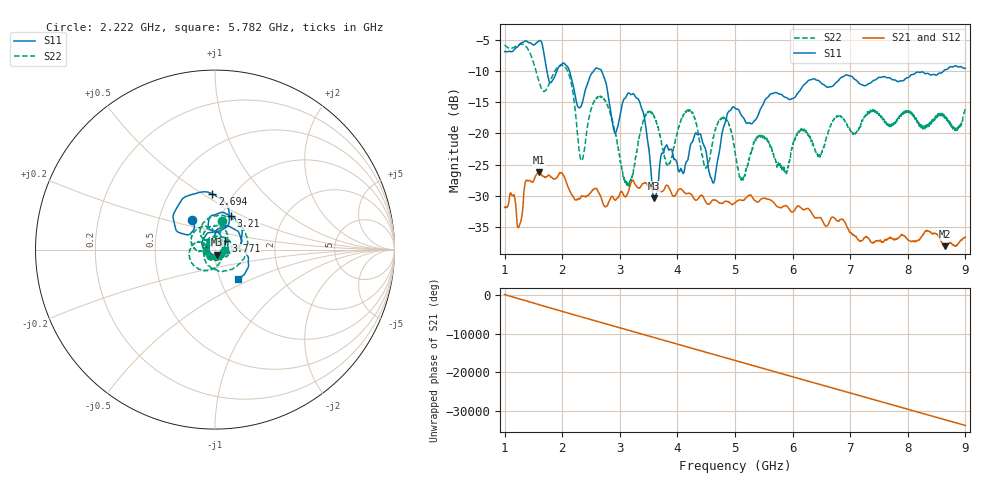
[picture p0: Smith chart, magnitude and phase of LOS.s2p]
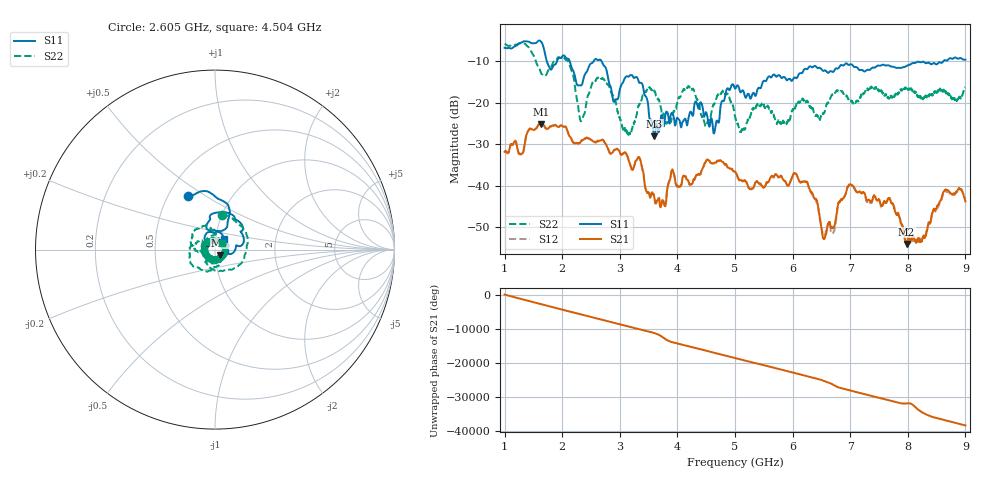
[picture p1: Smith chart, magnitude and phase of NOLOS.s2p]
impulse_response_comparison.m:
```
%Author: Yevgeniy Simonov
%Year: 2020

clear all 
close all
experiment = ["dataM/LOS.s2p", ... %EXP(1) Line-of-sight, 3m
              "dataM/NOLOS.s2p", ... %EXP(2) No Line-of-sight, 3m
              "dataM/1R.s2p", ... %EXP(3) 1 Side Reflector, 3m
              "dataM/2R.s2p", ... %EXP(4) 2 Side Reflectors, 3m
              "dataM/3R.s2p", ... %EXP(5) 3 Side Reflectros, 3m
              "dataM/3R_NOLOS.s2p", ... %EXP(6) 3 Side Reflectors No Line-of-sight, 3m
              "dataM/3R_2D.s2p", ... %EXP(7) 3 Side Reflectors, 2 Diffraction Plates, 3m
              "dataM/3R_4D.s2p", ... %EXP(8) 3 Side Reflectors, 4 Diffraction Plates, 3m
              "dataM/4R_4D.s2p"]'; %EXP(9) 4 Side Reflectors, 4 Diffraction Plates, 3m
          
freqs = sparameters("dataM/LOS.s2p").Frequencies;
Nf = size(freqs,1);
Nex = size(experiment,1);

S = {};
for i=1:Nex
    S{end+1} = sparameters(experiment(i)).Parameters;
end

beta = 3.3;
Window = kaiser(Nf,beta);
%Winfreq = freqz(Window,1,Nf,2);
W0 = sum(Window);

TF = zeros(Nf,Nex);
for i=1:Nex
   TF(:,i)= squeeze(S{i}(2,1,:)./(1+S{i}(1,1,:))).*Window; 
end

Nt = Nf;
tstart = 5e-9; %start time
tstop = 50e-9; %end time
time = linspace(tstart, tstop, Nt)';
omega = 2*pi*freqs;

CIR = zeros(Nt,Nex);
for k=1:Nex
    for i=1:Nt
        CIR(i,k) = sum(squeeze(TF(:,k)).*exp(1i*omega*time(i)));
    end
    CIR(:,k) = CIR(:,k) / W0;
end

%% Plot Channel Transfer Function
numexp = (1:9).';
[X,Y] = meshgrid(numexp,freqs);

markers = {'.' '.' '.' '.' '.' '.' '.' '.' '.'};
%markers = {'.' '^' 'diamond' 'p' 'v' 'd' 'x' 'o' '+'};

figure('DefaultAxesFontSize', 14)
gsh = plot3(X,Y/1e9,20*log10(abs(TF))); 
set(gsh,{'Marker'}, markers(:),'MarkerSize',1)
zlabel('20log_{10}|H(f)W(f)|,dB')
ylabel('Frequency, GHz')
xlabel('Experiment Number')
title("Amplitude of Windowed Transfer Function, Kaiser \beta=3.3")
view(140,75)
legend("L.O.S.", ...
       "No L.O.S.", ...
       "1 side reflector", ...
       "2 side reflectors", ...
       "3 side reflectors", ...
       "3 side reflectors, no L.O.S.", ...
       "3 side reflectors, 2 diffractors", ...
       "3 side reflectors, 4 diffractors", ...
       "4 side reflectors, 4 diffractors" );
xlim([1 9])
grid on

%% Plot Channel Impulse Response
[X,Y] = meshgrid(numexp,time);
figure('DefaultAxesFontSize', 14)
gsh = plot3(X,Y*1e9,20*log10(abs(CIR)))
set(gsh,{'Marker'}, markers(:),'MarkerSize',1)
zlabel('20log_{10}|h(t)|,dB')
ylabel('Time, ns')
xlabel('Experiment Number')
title("Amplitudes of Channel Impulse Response, Kaiser \beta=3.3")
view(140,75)
legend("L.O.S.", ...
       "No L.O.S.", ...
       "1 side reflector", ...
       "2 side reflectors", ...
       "3 side reflectors", ...
       "3 side reflectors, no L.O.S.", ...
       "3 side reflectors, 2 diffractors", ...
       "3 side reflectors, 4 diffractors", ...
       "4 side reflectors, 4 diffractors");
zlim([-80 -20])
ylim([5 35])
xlim([1 9])
grid on

%% Identification of multipath waves
CIR_diff = zeros(Nt,Nex-1);
for i=2:Nex
   CIR_diff(:,i-1) = squeeze(sign(abs(CIR(:,i))-abs(CIR(:,1)))).*squeeze(20*log10(smooth(smooth(abs(CIR(:,1))-abs(CIR(:,i)))))); 
end

markers = {'.' '.' '.' '.' '.' '.' '.' '.'};
[X,Y] = meshgrid(numexp(1:end-1),time);
figure('DefaultAxesFontSize', 14)
%set(gca,'xscale','log')
gsh = plot3(X,Y*1e9,CIR_diff)
set(gsh,{'Marker'}, markers(:),'MarkerSize',1)
zlabel('sgn(\Delta h(t))(20log_{10}|h_{n}(t)-h_{1}(t)|),dB')
ylabel('Time, ns')
%xlabel('Experiment Number')
title("Difference Between L.O.S. and Amplitudes of Channel Impulse Response, Kaiser \beta=3.3")
view(140,75)
legend("No L.O.S.", ...
       "1 side reflector", ...
       "2 side reflectors", ...
       "3 side reflectors", ...
       "3 side reflectors, no L.O.S.", ...
       "3 side reflectors, 2 diffractors", ...
       "3 side reflectors, 4 diffractors", ...
       "4 side reflectors, 4 diffractors");
%zlim([-80 -20])
ylim([5 35])
xlim([1 8])
grid on
```
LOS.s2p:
!Keysight Technologies N9915A: A.10.33
!Date: Tuesday, 12 May 2020 14:01:56
!Timezone: (UTC+08:00) Perth
!Model: N9915A
!Serial: MY53102697
!GPS Latitude:
!GPS Longitude:
!GPS TimeStamp: 0001-01-01 00:00:00Z
!GPS Seconds Since Last Read: 0
!CHECKSUM:1499652712
!Correction: S11(ON U)S21(ON U)S12(ON U)S22(ON U)
!S2P File: Measurements:S11,S21,S12,S22:
# Hz S DB R 50
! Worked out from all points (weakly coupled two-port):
!   10001 points, 1 GHz to 9 GHz, reference 50 ohm
!   highest |S21| = -26.26 dB at 1.599 GHz (marker M1); lowest = -38.2 dB at 8.64 GHz (marker M2)
!   lowest |S11| = -30.4 dB at 3.593 GHz (marker M3), VSWR 1.06, Z = 51 - j2.88 ohm
!   |S11| at or under -10 dB: 1.735 GHz to 1.903 GHz (167.3 MHz wide, 9.2 % of centre); 2.129 GHz to 2.541 GHz (412.2 MHz wide, 17.7 % of centre); 2.687 GHz to 8.614 GHz (5.926 GHz wide, 105 % of centre)
!   |S22| runs from -28.5 to -5.6 dB; largest |S21 - S12| = 0.0022
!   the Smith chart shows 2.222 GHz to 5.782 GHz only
!   S11 on the Smith chart (normalised r, x): 2.222 GHz: 0.74, +0.25; 2.694 GHz: 0.80, +0.55; 3.21 GHz: 1.11, +0.43; 3.771 GHz: 1.12, +0.10; 5.782 GHz: 1.22, -0.42
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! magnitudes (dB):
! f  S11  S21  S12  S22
! 1 GHz  -6.8  -31.9  -31.8  -5.7
! 1.599 GHz  -5.1  -26.3  -26.3  -11.7
! 2.222 GHz  -13.7  -30.7  -30.7  -15.9
! 2.694 GHz  -10.2  -30.9  -30.9  -14.2
! 3.21 GHz  -13.6  -27.7  -27.7  -27.0
! 3.593 GHz  -30.4  -28.8  -28.9  -17.3
! 3.771 GHz  -22.7  -29.0  -29.1  -23.5
! 5 GHz  -15.9  -31.2  -31.3  -22.9
! 5.782 GHz  -13.6  -32.0  -32.0  -24.9
! 8.64 GHz  -9.7  -38.2  -38.2  -17.2
! 9 GHz  -9.5  -36.7  -36.9  -16.0
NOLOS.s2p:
!Keysight Technologies N9915A: A.10.33
!Date: Tuesday, 12 May 2020 14:05:18
!Timezone: (UTC+08:00) Perth
!Model: N9915A
!Serial: MY53102697
!GPS Latitude:
!GPS Longitude:
!GPS TimeStamp: 0001-01-01 00:00:00Z
!GPS Seconds Since Last Read: 0
!CHECKSUM:0824710176
!Correction: S11(ON U)S21(ON U)S12(ON U)S22(ON U)
!S2P File: Measurements:S11,S21,S12,S22:
# Hz S DB R 50
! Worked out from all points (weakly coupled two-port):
!   10001 points, 1 GHz to 9 GHz, reference 50 ohm
!   highest |S21| = -25.07 dB at 1.639 GHz (marker M1); lowest = -54.0 dB at 7.978 GHz (marker M2)
!   lowest |S11| = -28.0 dB at 3.598 GHz (marker M3), VSWR 1.08, Z = 52.5 - j3.18 ohm
!   |S11| at or under -10 dB: 1.734 GHz to 1.909 GHz (175.1 MHz wide, 9.62 % of centre); 2.131 GHz to 2.542 GHz (410.6 MHz wide, 17.6 % of centre); 2.685 GHz to 8.615 GHz (5.929 GHz wide, 105 % of centre)
!   |S22| runs from -27.7 to -5.6 dB; largest |S21 - S12| = 0.019
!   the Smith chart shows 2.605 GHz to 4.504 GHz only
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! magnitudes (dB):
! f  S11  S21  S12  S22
! 1 GHz  -6.7  -31.8  -31.9  -5.8
! 1.639 GHz  -5.4  -25.1  -25.1  -13.0
! 2.076 GHz  -9.3  -26.2  -26.2  -9.7
! 2.336 GHz  -15.7  -29.0  -29.1  -24.2
! 2.709 GHz  -10.7  -28.9  -29.0  -14.1
! 3.154 GHz  -13.7  -33.9  -33.9  -27.5
! 3.598 GHz  -28.0  -42.5  -42.8  -17.0
! 5 GHz  -16.6  -36.6  -36.8  -23.1
! 7.686 GHz  -11.1  -43.1  -43.1  -18.5
! 7.978 GHz  -11.1  -54.0  -54.5  -16.6
! 9 GHz  -9.6  -43.7  -43.1  -16.3
